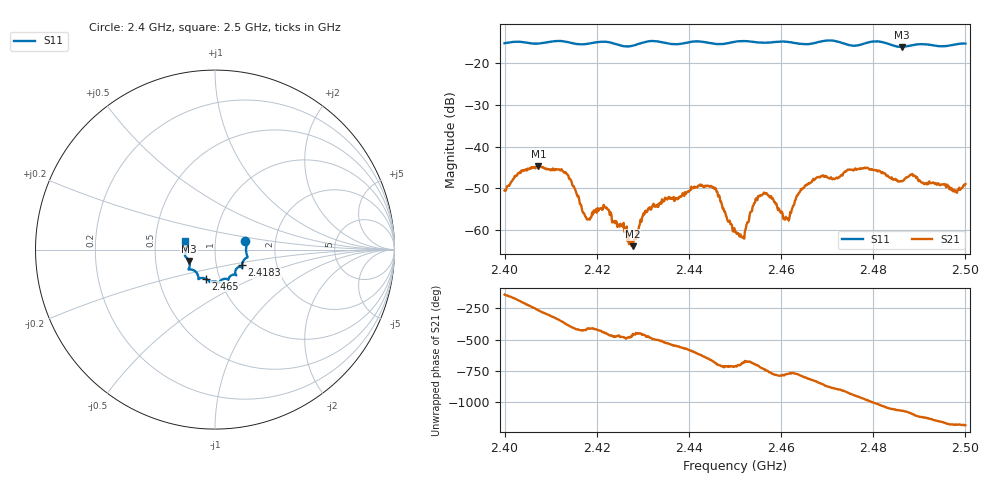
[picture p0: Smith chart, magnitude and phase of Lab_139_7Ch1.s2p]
# Hz S RI R 50
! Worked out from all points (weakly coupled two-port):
!   601 points, 2.4 GHz to 2.5 GHz, reference 50 ohm
!   highest |S21| = -44.67 dB at 2.4073 GHz (marker M1); lowest = -63.9 dB at 2.4278 GHz (marker M2)
!   lowest |S11| = -16.0 dB at 2.4862 GHz (marker M3), VSWR 1.38, Z = 37.1 - j4.84 ohm
!   |S11| at or under -10 dB: start of sweep to end of sweep
!   S12 and S22 are empty: the file has one direction only
!   S11 on the Smith chart (normalised r, x): 2.4 GHz: 1.40, +0.13; 2.4183 GHz: 1.33, -0.24; 2.465 GHz: 0.86, -0.29; 2.5 GHz: 0.71, +0.07
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2.4e9  0.1689 0.0457  -0.00231 -0.0019  0 0  0 0
2.407333e9  0.1731 -0.00757  -0.000253 0.00583  0 0  0 0
2.413333e9  0.1768 -0.0448  0.00461 -0.00151  0 0  0 0
2.416667e9  0.1552 -0.0685  0.000766 -0.00178  0 0  0 0
2.418333e9  0.1499 -0.0871  0.000793 -0.00111  0 0  0 0
2.422e9  0.1523 -0.0999  5.86e-05 -0.00184  0 0  0 0
2.427833e9  0.1141 -0.1169  -5.06e-05 -0.000639  0 0  0 0
2.430333e9  0.1151 -0.1386  -0.000331 -0.0015  0 0  0 0
2.433333e9  0.1168 -0.1414  -0.00154 -0.0011  0 0  0 0
2.444833e9  0.0629 -0.1628  0.00193 0.00278  0 0  0 0
2.45e9  0.0252 -0.1809  0.000951 9.63e-05  0 0  0 0
2.451833e9  0.0211 -0.1846  0.000647 0.000532  0 0  0 0
2.454333e9  0.0121 -0.1802  0.00198 0.000802  0 0  0 0
2.456333e9  -0.00387 -0.1773  0.00271 -0.000778  0 0  0 0
2.461333e9  -0.0311 -0.1792  0.000778 -0.00115  0 0  0 0
2.465e9  -0.0524 -0.1621  0.000446 -0.00321  0 0  0 0
2.466667e9  -0.0712 -0.1578  -0.000937 -0.00369  0 0  0 0
2.478167e9  -0.1342 -0.111  -0.0012 0.00552  0 0  0 0
2.483333e9  -0.1421 -0.0961  0.0037 0.00226  0 0  0 0
2.486167e9  -0.1447 -0.0636  0.00383 0.000693  0 0  0 0
2.497667e9  -0.1656 0.0333  -0.000576 -0.00284  0 0  0 0
2.5e9  -0.1667 0.0471  -0.000951 -0.00344  0 0  0 0
